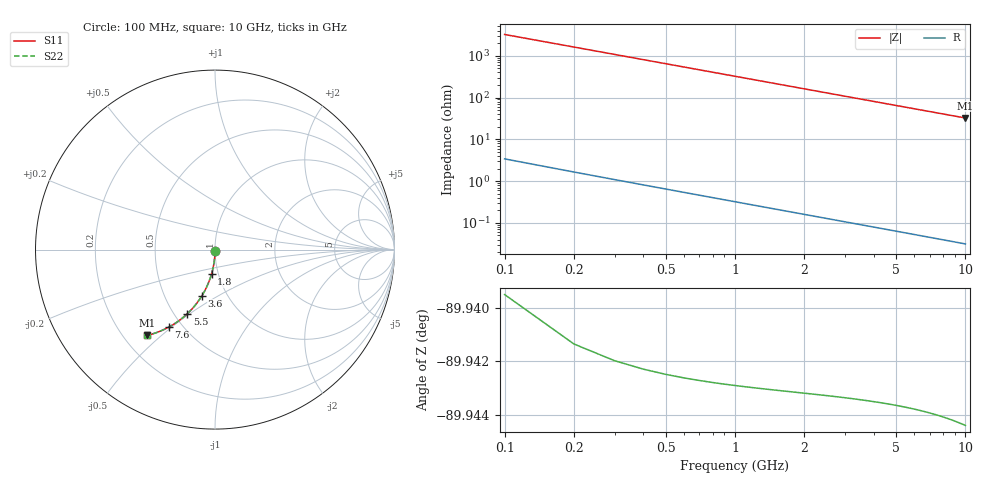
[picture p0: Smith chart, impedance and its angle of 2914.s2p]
# Hz S RI R 50.00
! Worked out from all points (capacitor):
!   100 points, 100 MHz to 10 GHz, reference 50 ohm
!   read as one part in shunt: C = 494 fF near 100 MHz
!   lowest |Z| = 32.4 ohm at 10 GHz (marker M1)
!   S11 on the Smith chart (normalised r, x): 100 MHz: 1.00, -0.02; 1.8 GHz: 0.93, -0.26; 3.6 GHz: 0.76, -0.42; 5.5 GHz: 0.58, -0.49; 7.6 GHz: 0.42, -0.49; 10 GHz: 0.30, -0.45
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1e8  -3.6e-05 -0.0077  0.9999 -0.00782  0.9999 -0.00782  -3.6e-05 -0.0077
2e8  -0.000224 -0.0154  0.9997 -0.0156  0.9997 -0.0156  -0.000224 -0.0154
3e8  -0.000532 -0.0231  0.9994 -0.0235  0.9994 -0.0235  -0.000532 -0.0231
4e8  -0.000961 -0.0308  0.999 -0.0313  0.999 -0.0313  -0.000961 -0.0308
5e8  -0.00151 -0.0384  0.9984 -0.0391  0.9984 -0.0391  -0.00151 -0.0384
6e8  -0.00218 -0.0461  0.9978 -0.0468  0.9978 -0.0468  -0.00218 -0.0461
8e8  -0.00387 -0.0613  0.9961 -0.0623  0.9961 -0.0623  -0.00387 -0.0613
1.1e9  -0.00728 -0.084  0.9926 -0.0854  0.9926 -0.0854  -0.00728 -0.084
1.4e9  -0.0117 -0.1065  0.9882 -0.1082  0.9882 -0.1082  -0.0117 -0.1065
1.8e9  -0.0192 -0.1358  0.9807 -0.1381  0.9807 -0.1381  -0.0192 -0.1358
2.1e9  -0.026 -0.1574  0.9739 -0.16  0.9739 -0.16  -0.026 -0.1574
2.5e9  -0.0364 -0.1853  0.9635 -0.1885  0.9635 -0.1885  -0.0364 -0.1853
2.9e9  -0.0484 -0.2122  0.9516 -0.216  0.9516 -0.216  -0.0484 -0.2122
3.4e9  -0.0653 -0.2444  0.9347 -0.2487  0.9347 -0.2487  -0.0653 -0.2444
3.6e9  -0.0726 -0.2567  0.9273 -0.2613  0.9273 -0.2613  -0.0726 -0.2567
4.3e9  -0.1004 -0.2973  0.8995 -0.3028  0.8995 -0.3028  -0.1004 -0.2973
5.1e9  -0.1356 -0.3387  0.8643 -0.3452  0.8643 -0.3452  -0.1356 -0.3387
5.5e9  -0.1543 -0.3573  0.8456 -0.3644  0.8456 -0.3644  -0.1543 -0.3573
6.7e9  -0.2131 -0.4047  0.7868 -0.4133  0.7868 -0.4133  -0.2131 -0.4047
7.6e9  -0.2583 -0.4323  0.7415 -0.4422  0.7415 -0.4422  -0.2583 -0.4323
8.4e9  -0.2985 -0.4517  0.7014 -0.4626  0.7014 -0.4626  -0.2985 -0.4517
1e10  -0.3762 -0.4774  0.6236 -0.4905  0.6236 -0.4905  -0.3762 -0.4774
